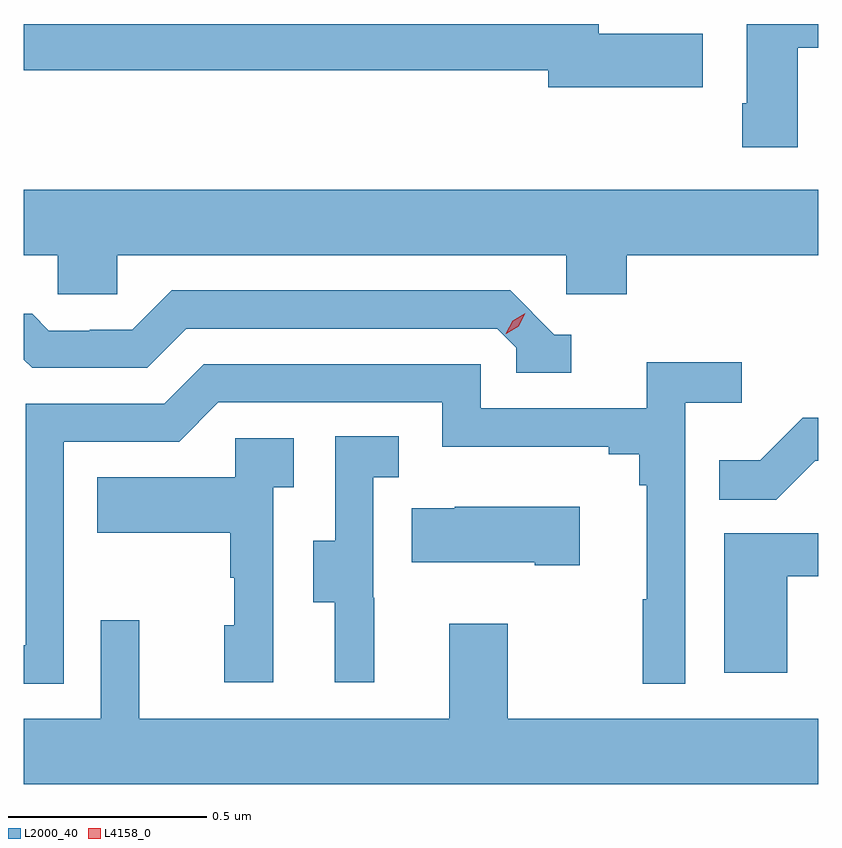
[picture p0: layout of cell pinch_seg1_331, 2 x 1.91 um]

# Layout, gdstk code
import gdstk
lib = gdstk.Library(unit=1e-6, precision=1e-09)
def P(c, l, *ps):  # polygons
    for p in ps: c.add(gdstk.Polygon(p, *l))
L2000_40 = (2000, 40)
L4158_0 = (4158, 0)

pinch_seg1_331 = lib.new_cell('pinch_seg1_331')
P(pinch_seg1_331, L2000_40, [(1013.551,554.954),(1013.29,554.954),(1013.29,554.978),(1011.842,554.978),(1011.842,554.862),(1013.162,554.862),(1013.162,554.819),(1013.551,554.819)],
  [(1013.791,554.918),(1013.842,554.918),(1013.842,554.978),(1013.663,554.978),(1013.663,554.779),(1013.651,554.779),(1013.651,554.667),(1013.791,554.667)],
  [(1012.077,554.396),(1013.208,554.396),(1013.208,554.298),(1013.36,554.298),(1013.36,554.396),(1013.842,554.396),(1013.842,554.56),(1011.842,554.56),(1011.842,554.396),(1011.927,554.396),(1011.927,554.298),(1012.077,554.298)],
  [(1013.221,554.196),(1013.178,554.196),(1013.067,554.307),(1012.214,554.307),(1012.115,554.208),(1012.008,554.208),(1012.008,554.205),(1011.905,554.205),(1011.863,554.248),(1011.842,554.248),(1011.842,554.133),(1011.863,554.112),(1012.152,554.112),(1012.251,554.211),(1013.034,554.211),(1013.082,554.163),(1013.082,554.1),(1013.221,554.1)],
  [(1011.942,553.926),(1012.233,553.926),(1012.332,554.025),(1012.896,554.025),(1012.896,553.913),(1013.315,553.913),(1013.315,553.894),(1013.392,553.894),(1013.392,553.817),(1013.411,553.817),(1013.411,553.529),(1013.4,553.529),(1013.4,553.317),(1013.508,553.317),(1013.508,554.024),(1013.65,554.024),(1013.65,554.126),(1013.411,554.126),(1013.411,554.01),(1012.992,554.01),(1012.992,554.121),(1012.295,554.121),(1012.196,554.022),(1011.846,554.022),(1011.846,553.413),(1011.842,553.413),(1011.842,553.317),(1011.942,553.317)],
  [(1013.835,553.878),(1013.842,553.878),(1013.842,553.986),(1013.804,553.986),(1013.697,553.879),(1013.593,553.879),(1013.593,553.78),(1013.737,553.78)],
  [(1012.724,553.533),(1012.722,553.533),(1012.722,553.837),(1012.786,553.837),(1012.786,553.94),(1012.626,553.94),(1012.626,553.677),(1012.571,553.677),(1012.571,553.522),(1012.625,553.522),(1012.625,553.32),(1012.724,553.32)],
  [(1012.47,553.811),(1012.522,553.811),(1012.522,553.935),(1012.374,553.935),(1012.374,553.837),(1012.027,553.837),(1012.027,553.697),(1012.362,553.697),(1012.362,553.583),(1012.372,553.583),(1012.372,553.464),(1012.346,553.464),(1012.346,553.32),(1012.47,553.32)],
  [(1013.242,553.762),(1012.927,553.762),(1012.927,553.759),(1012.819,553.759),(1012.819,553.622),(1013.129,553.622),(1013.129,553.615),(1013.242,553.615)],
  [(1013.764,553.587),(1013.842,553.587),(1013.842,553.695),(1013.606,553.695),(1013.606,553.344),(1013.764,553.344)],
  [(1013.842,553.228),(1013.061,553.228),(1013.061,553.468),(1012.913,553.468),(1012.913,553.228),(1012.133,553.228),(1012.133,553.477),(1012.035,553.477),(1012.035,553.228),(1011.842,553.228),(1011.842,553.064),(1013.842,553.064)])
P(pinch_seg1_331, L4158_0, [(1013.056,554.198),(1013.056,554.198),(1013.073,554.231),(1013.104,554.25),(1013.104,554.25),(1013.104,554.25),(1013.088,554.217),(1013.057,554.198)])

lib.write_gds('pinch_seg1_331.gds')
